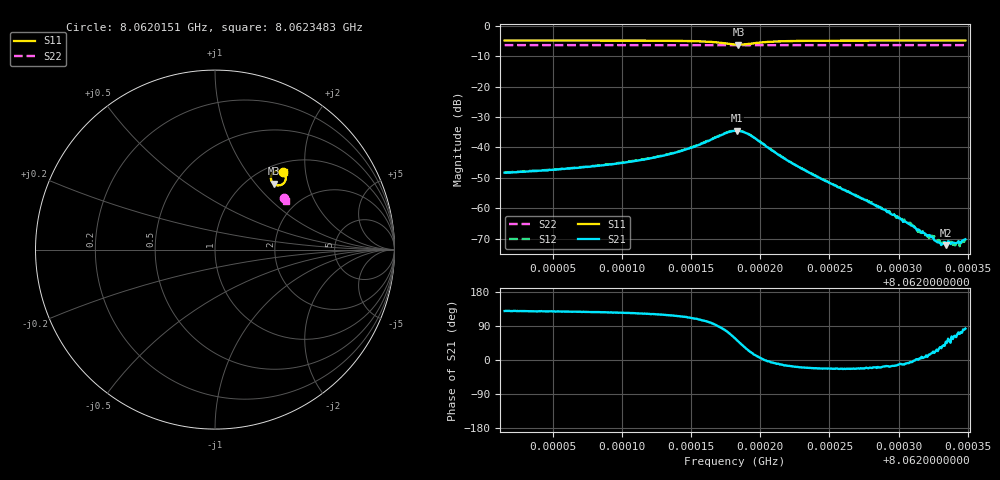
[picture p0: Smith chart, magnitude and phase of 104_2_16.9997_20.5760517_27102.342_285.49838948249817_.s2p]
#  HZ  S  RI  R  50.00
! Rohde & Schwarz Vector Network Analyzer
! Rohde-Schwarz,ZNB20-2Port,1311601062101988,3.16
! Created: UTC 3/20/2024, 10:56:45 PM
! freq[Hz]  re:S11  im:S11  re:S21  im:S21  re:S12  im:S12  re:S22  im:S22
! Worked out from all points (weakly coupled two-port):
!   401 points, 8.0620151 GHz to 8.0623483 GHz, reference 50 ohm
!   highest |S21| = -34.47 dB at 8.0621834 GHz (marker M1); lowest = -72.1 dB at 8.0623342 GHz (marker M2)
!   lowest |S11| = -6.2 dB at 8.0621842 GHz (marker M3), VSWR 2.93, Z = 64.6 + j62.5 ohm
!   |S11| at or under -10 dB: nowhere
!   |S22| runs from -6.4 to -6.3 dB; largest |S21 - S12| = 0.0013
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8.06201513e9  0.3775 0.4345  -0.00244 0.00298  -0.00229 0.00314  0.3871 0.2889
8.06207094e9  0.3832 0.4284  -0.0028 0.00377  -0.00263 0.00398  0.3892 0.2861
8.0621026e9  0.3873 0.423  -0.0032 0.00469  -0.00295 0.00495  0.3902 0.2845
8.06212676e9  0.3911 0.4157  -0.00356 0.00614  -0.00326 0.0064  0.3911 0.2829
8.06215092e9  0.3944 0.3994  -0.00348 0.00942  -0.00298 0.00976  0.3917 0.2811
8.06216841e9  0.3847 0.3723  -0.000325 0.015  0.000562 0.0149  0.3914 0.2793
8.06218174e9  0.3381 0.3602  0.0102 0.0157  0.0113 0.0152  0.3896 0.2789
8.06218341e9  0.3307 0.3639  0.0117 0.0148  0.0127 0.014  0.3894 0.2791
8.06218424e9  0.3273 0.3665  0.0124 0.0141  0.0134 0.0134  0.3892 0.2792
8.06219257e9  0.3114 0.4011  0.0149 0.00597  0.0152 0.00507  0.3895 0.2806
8.06221506e9  0.3432 0.4394  0.00695 -0.00142  0.0069 -0.00195  0.3921 0.2807
8.06223755e9  0.3608 0.4399  0.00337 -0.00134  0.00334 -0.00155  0.3936 0.2792
8.06229337e9  0.3762 0.4339  0.0008 -0.000253  0.000842 -0.000302  0.3959 0.2762
8.06230836e9  0.3785 0.4325  0.000536 -4.95e-05  0.000569 -9.82e-05  0.3966 0.2755
8.06231419e9  0.3793 0.4321  0.000449 4.56e-06  0.000407 -3.91e-05  0.3966 0.2751
8.06232169e9  0.3802 0.4315  0.00035 8.51e-05  0.000347 3e-05  0.3969 0.2746
8.06232586e9  0.3806 0.4313  0.000282 9.59e-05  0.000334 9.41e-05  0.3969 0.2746
8.06232919e9  0.381 0.4309  0.000239 0.000137  0.000275 0.000121  0.3971 0.2744
8.06233252e9  0.3814 0.4306  0.000203 0.000164  0.000214 0.000179  0.3972 0.2742
8.06233419e9  0.3816 0.4305  0.000166 0.000185  0.000188 0.000151  0.3973 0.2742
8.06234252e9  0.3823 0.43  0.000103 0.000252  9.35e-05 0.000245  0.3977 0.2739
8.06234835e9  0.383 0.4297  3.81e-05 0.000306  0.000123 0.000285  0.3978 0.2735
